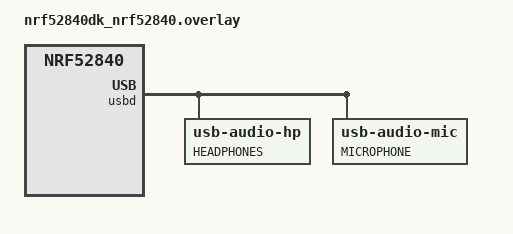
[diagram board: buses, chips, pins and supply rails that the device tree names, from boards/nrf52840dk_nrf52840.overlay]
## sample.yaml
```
sample:
  name: USB audio Headphones Microphone sample
tests:
  sample.usb.audio.headphones_microphone:
    depends_on: usb_device
    tags: usb
    arch_exclude: posix
    integration_platforms:
      - nrf52840dk/nrf52840
      - nrf5340dk/nrf5340/cpuapp
    harness: console
    harness_config:
      type: multi_line
      ordered: true
      regex:
        - "Entered main"
        - "Found USB Headphones Device"
        - "Found USB Microphone Device"
        - "USB enabled"
```

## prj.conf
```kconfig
CONFIG_STDOUT_CONSOLE=y

#USB related configs
CONFIG_USB_DEVICE_STACK=y
CONFIG_USB_DEVICE_PRODUCT="Zephyr USB audio sample"

#LOG subsystem related configs
CONFIG_LOG=y
CONFIG_USB_DRIVER_LOG_LEVEL_ERR=y
CONFIG_USB_DEVICE_LOG_LEVEL_ERR=y

#net buf options
CONFIG_NET_BUF=y
CONFIG_NET_BUF_USER_DATA_SIZE=0

#USB audio related configs
CONFIG_USB_DEVICE_AUDIO=y
```

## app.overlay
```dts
/*
 * Copyright (c) 2019 Nordic Semiconductor ASA
 *
 * SPDX-License-Identifier: Apache-2.0
 */

&zephyr_udc0 {
	hp_0 {
		compatible = "usb-audio-hp";
		feature-mute;
		channel-l;
		channel-r;

		feature-volume;
		volume-max = <0x0500>;
		volume-min = <0xBA00>;
		volume-res = <0x100>;
	};
	mic_0 {
		compatible = "usb-audio-mic";
		feature-mute;
		channel-l;
		channel-r;
	};
};
```

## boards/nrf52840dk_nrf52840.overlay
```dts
/*
 * Copyright (c) 2019 Nordic Semiconductor ASA
 *
 * SPDX-License-Identifier: Apache-2.0
 */

&usbd {
	hp_0 {
		label = "HEADPHONES";
		compatible = "usb-audio-hp";
		feature-mute;
		channel-l;
		channel-r;
	};
	mic_0 {
		label = "MICROPHONE";
		compatible = "usb-audio-mic";
		feature-mute;
		channel-l;
		channel-r;
	};
};
```

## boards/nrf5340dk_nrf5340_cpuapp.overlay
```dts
/*
 * Copyright (c) 2020 Nordic Semiconductor ASA
 *
 * SPDX-License-Identifier: Apache-2.0
 */

&usbd {
	hp_0 {
		label = "HEADPHONES";
		compatible = "usb-audio-hp";
		feature-mute;
		channel-l;
		channel-r;
	};
	mic_0 {
		label = "MICROPHONE";
		compatible = "usb-audio-mic";
		feature-mute;
		channel-l;
		channel-r;
	};
};
```

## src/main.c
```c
/*
 * Copyright (c) 2020 Nordic Semiconductor ASA
 *
 * SPDX-License-Identifier: Apache-2.0
 */

/**
 * @file
 * @brief Sample app for Audio class
 */

#include <zephyr/kernel.h>
#include <zephyr/logging/log.h>
#include <zephyr/usb/usb_device.h>
#include <zephyr/usb/class/usb_audio.h>

LOG_MODULE_REGISTER(main, LOG_LEVEL_INF);

static const struct device *const mic_dev = DEVICE_DT_GET_ONE(usb_audio_mic);

static void data_received(const struct device *dev,
			  struct net_buf *buffer,
			  size_t size)
{
	int ret;

	if (!buffer || !size) {
		/* This should never happen */
		return;
	}

	LOG_DBG("Received %d data, buffer %p", size, buffer);

	/* Check if OUT device buffer can be used for IN device */
	if (size == usb_audio_get_in_frame_size(mic_dev)) {
		ret = usb_audio_send(mic_dev, buffer, size);
		if (ret) {
			net_buf_unref(buffer);
		}
	} else {
		net_buf_unref(buffer);
	}
}

static void feature_update(const struct device *dev,
			   const struct usb_audio_fu_evt *evt)
{
	int16_t volume = 0;

	LOG_DBG("Control selector %d for channel %d updated",
		evt->cs, evt->channel);
	switch (evt->cs) {
	case USB_AUDIO_FU_MUTE_CONTROL:
		break;
	case USB_AUDIO_FU_VOLUME_CONTROL:
		volume = *((int16_t *)(evt->val));
		LOG_INF("set volume: %d", volume);
		break;
	default:
		break;
	}
}

static const struct usb_audio_ops hp_ops = {
	.data_received_cb = data_received,
	.feature_update_cb = feature_update,
};

static const struct usb_audio_ops mic_ops = {
	.feature_update_cb = feature_update,
};

int main(void)
{
	const struct device *const hp_dev = DEVICE_DT_GET_ONE(usb_audio_hp);
	int ret;

	LOG_INF("Entered %s", __func__);

	if (!device_is_ready(hp_dev)) {
		LOG_ERR("Device USB Headphones is not ready");
		return 0;
	}

	LOG_INF("Found USB Headphones Device");

	if (!device_is_ready(mic_dev)) {
		LOG_ERR("Device USB Microphone is not ready");
		return 0;
	}

	LOG_INF("Found USB Microphone Device");

	usb_audio_register(hp_dev, &hp_ops);

	usb_audio_register(mic_dev, &mic_ops);

	ret = usb_enable(NULL);
	if (ret != 0) {
		LOG_ERR("Failed to enable USB");
		return 0;
	}

	LOG_INF("USB enabled");
	return 0;
}
```
